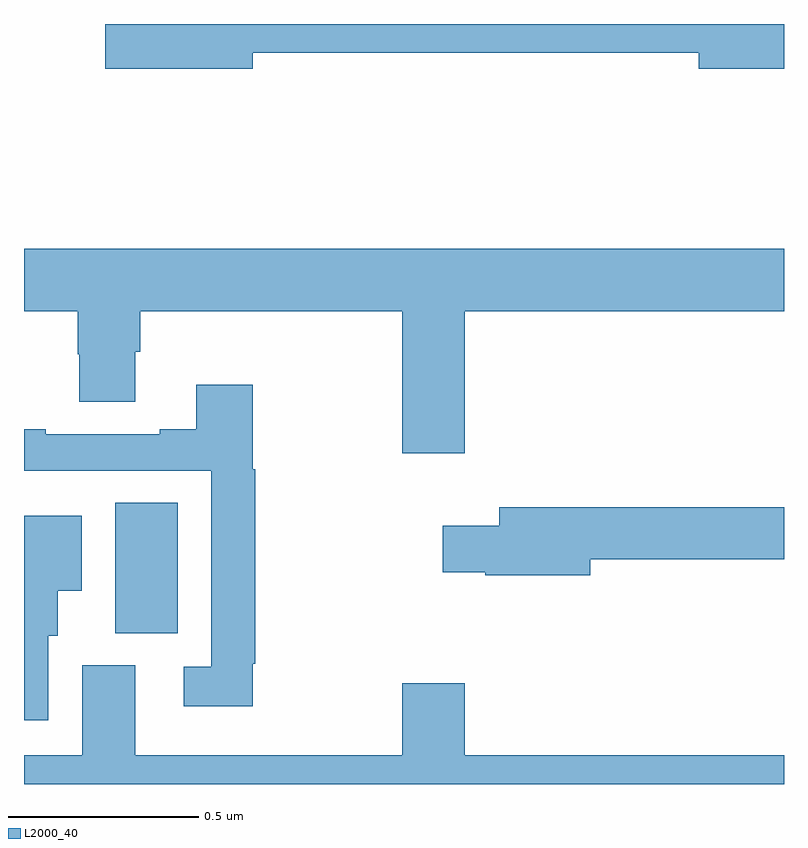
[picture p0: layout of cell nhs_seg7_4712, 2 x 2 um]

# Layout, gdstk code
import gdstk
lib = gdstk.Library(unit=1e-6, precision=1e-09)
def R(c, l, rs):  # rectangles x0, y0, x1, y1
    for r in rs: c.add(gdstk.rectangle(r[:2], r[2:], *l))
def P(c, l, *ps):  # polygons
    for p in ps: c.add(gdstk.Polygon(p, *l))
L2000_40 = (2000, 40)

nhs_seg7_4712 = lib.new_cell('nhs_seg7_4712')
R(nhs_seg7_4712, L2000_40, [(176.24,1038.397,176.404,1038.74)])
P(nhs_seg7_4712, L2000_40, [(176.602,1039.924),(177.776,1039.924),(177.776,1039.882),(178,1039.882),(178,1040),(176.214,1040),(176.214,1039.882),(176.602,1039.882)],
  [(177.16,1039.244),(178,1039.244),(178,1039.408),(176,1039.408),(176,1039.244),(176.141,1039.244),(176.141,1039.131),(176.146,1039.131),(176.146,1039.006),(176.293,1039.006),(176.293,1039.138),(176.306,1039.138),(176.306,1039.244),(176.996,1039.244),(176.996,1038.87),(177.16,1038.87)],
  [(176.602,1038.316),(176.609,1038.316),(176.609,1038.828),(176.602,1038.828),(176.602,1039.051),(176.453,1039.051),(176.453,1038.934),(176.357,1038.934),(176.357,1038.921),(176.057,1038.921),(176.057,1038.934),(176,1038.934),(176,1038.825),(176.493,1038.825),(176.493,1038.309),(176.421,1038.309),(176.421,1038.204),(176.602,1038.204)],
  [(177.49,1038.592),(178,1038.592),(178,1038.728),(177.251,1038.728),(177.251,1038.679),(177.102,1038.679),(177.102,1038.557),(177.214,1038.557),(177.214,1038.55),(177.49,1038.55)],
  [(176.064,1038.39),(176.089,1038.39),(176.089,1038.509),(176.152,1038.509),(176.152,1038.706),(176,1038.706),(176,1038.168),(176.064,1038.168)],
  [(178,1038.076),(177.16,1038.076),(177.16,1038.265),(176.996,1038.265),(176.996,1038.076),(176.293,1038.076),(176.293,1038.312),(176.153,1038.312),(176.153,1038.076),(176,1038.076),(176,1038),(178,1038)])

lib.write_gds('nhs_seg7_4712.gds')
